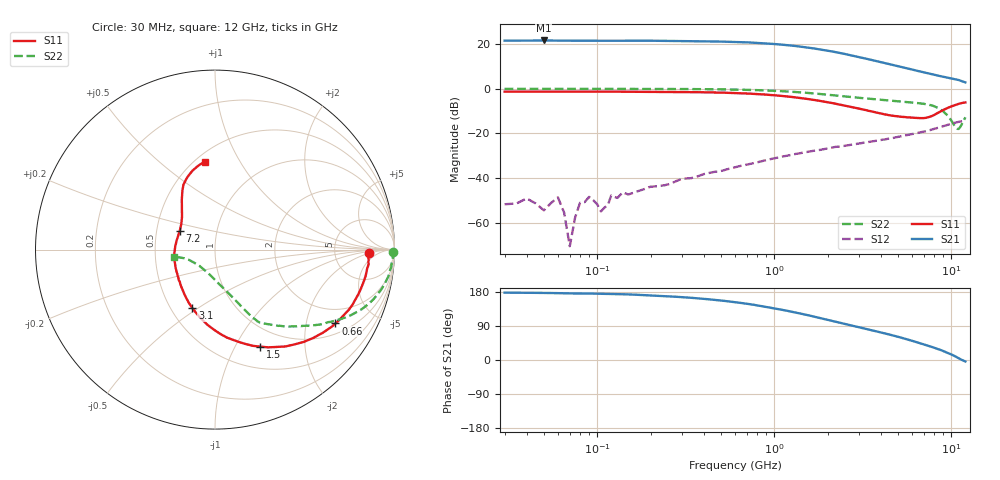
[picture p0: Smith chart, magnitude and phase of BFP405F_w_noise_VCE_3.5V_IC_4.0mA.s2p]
! Infineon Technologies  Discrete & RF Semiconductors
! BFP405F
! VCE =  3.5 V,  IC =  4.0 mA
! Common Emitter S-Parameters:  Nov 2015
# GHz  S  MA  R  50
!  f  S11  S21  S12  S22
! GHz  MAG  ANG  MAG  ANG  MAG  ANG  MAG  ANG
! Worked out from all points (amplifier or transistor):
!   239 points, 30 MHz to 12 GHz, reference 50 ohm
!   highest |S21| = 21.6 dB at 50 MHz (marker M1)
!   |S21| within 3 dB of that: start of sweep to 1.49 GHz
!   unconditionally stable (mu >= 1): 74.80667 MHz to 75.16392 MHz; 3.226 GHz to end of sweep
!   at 300 MHz: K = 0.14, MSG = 30.8 dB, |S12| = -40.4 dB
!   at 1.88 GHz: K = 0.58, MSG = 22.2 dB, |S12| = -27.1 dB
!   at 12 GHz: K = 1.50, MAG = 4.4 dB, |S12| = -14.3 dB
!   lowest NFmin = 1.20 dB at 450 MHz
!   S11 on the Smith chart (normalised r, x): 30 MHz: 13, -2; 660 MHz: 1.37, -2.97; 1.5 GHz: 0.75, -1.27; 3.1 GHz: 0.64, -0.47; 7.2 GHz: 0.66, +0.15; 12 GHz: 0.56, +0.72
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0.03  0.8586 -1.3  11.86 177.7  0.0026 19.9  0.9902 -0.7
0.05  0.8588 -2.6  11.98 176.8  0.0019 62.1  0.9941 -1.1
0.06  0.8558 -2.7  11.84 176.5  0.0037 76.3  0.9919 -1.0
0.065  0.856 -3.0  11.84 176.1  0.0017 77.7  0.9914 -1.1
0.07  0.8563 -3.3  11.84 175.7  0.0003 -120.3  0.9909 -1.3
0.08  0.8582 -3.9  11.8 175.3  0.0028 13.2  0.9905 -1.6
0.085  0.8577 -4.2  11.82 175.4  0.0029 48.6  0.9912 -1.8
0.105  0.8589 -5.1  11.78 174.7  0.0018 95.5  0.9913 -2.3
0.14  0.8545 -6.8  11.82 173.6  0.0048 77.9  0.9905 -3.2
0.24  0.8483 -11.8  11.72 168.6  0.0069 86.6  0.9866 -5.5
0.4  0.8302 -19.6  11.51 161.4  0.0123 83.2  0.9773 -8.9
0.6  0.7984 -28.9  11.09 152.5  0.0176 78.2  0.9544 -13.2
0.66  0.787 -31.5  10.96 150.1  0.019 76.0  0.9467 -14.3
1  0.7136 -46.1  9.983 136.4  0.0278 70.6  0.8957 -20.7
1.5  0.5968 -65.1  8.452 119.6  0.0379 63.9  0.8113 -28.1
1.64  0.5678 -69.7  8.031 115.6  0.0403 63.1  0.7886 -29.8
2.28  0.4505 -89.9  6.43 99.9  0.05 58.4  0.6975 -37.1
3.1  0.3497 -111.2  4.959 85.1  0.0605 54.3  0.6181 -43.7
4.5  0.2542 -144.9  3.51 66.8  0.0769 50.8  0.545 -50.9
7.2  0.2229 151.5  2.244 39.2  0.1124 45.3  0.4482 -60.1
10.8  0.4466 107.9  1.588 6.7  0.1782 29.6  0.1262 -122.2
12  0.4913 96.8  1.379 -4.0  0.192 23.4  0.2293 -170.2
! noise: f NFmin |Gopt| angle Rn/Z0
0.45  1.2  0.44  5  0.35
0.9  1.21  0.41  13  0.38
1.5  1.29  0.38  19  0.33
1.9  1.32  0.36  25  0.33
2.4  1.49  0.34  35  0.35
3  1.56  0.32  46  0.32
3.5  1.61  0.31  55  0.29
4.5  1.77  0.24  70  0.26
5.5  2  0.15  83  0.16
